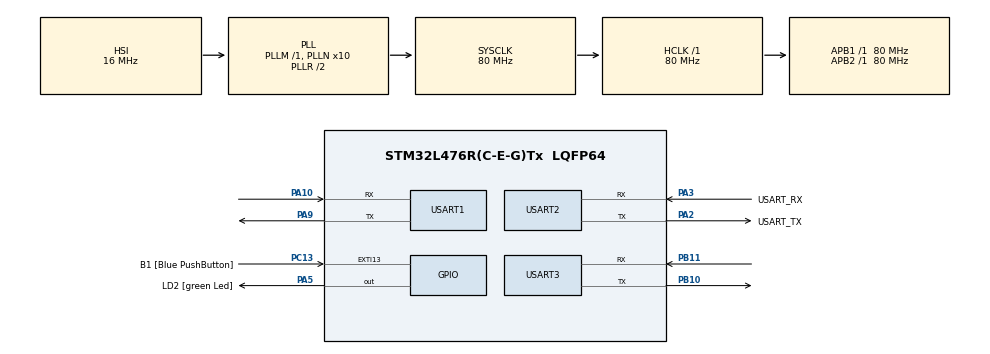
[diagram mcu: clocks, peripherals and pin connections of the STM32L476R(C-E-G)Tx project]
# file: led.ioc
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FREERTOS.Tasks01=blink_led,24,128,StartBlink_led,Default,NULL,Dynamic,NULL,NULL;Transmission2,25,128,StartTransm2,Default,NULL,Dynamic,NULL,NULL;PLoadStatus,8,128,PLStatus,Default,NULL,Dynamic,NULL,NULL;OBCAskU,8,128,StartOBCAsku,Default,NULL,Dynamic,NULL,NULL;OBCAskV,8,128,StartOBCAskV,Default,NULL,Dynamic,NULL,NULL
Mcu.Family=STM32L4
Mcu.Name=STM32L476R(C-E-G)Tx
Mcu.Package=LQFP64
NVIC.PriorityGroup=NVIC_PRIORITYGROUP_4
NVIC.TIM6_DAC_IRQn=true\:15\:0\:false\:false\:true\:false\:false\:true
NVIC.TimeBase=TIM6_DAC_IRQn
NVIC.TimeBaseIP=TIM6
NVIC.USART1_IRQn=true\:5\:0\:false\:false\:true\:true\:true\:true
NVIC.USART2_IRQn=true\:5\:0\:false\:false\:true\:true\:true\:true
NVIC.USART3_IRQn=true\:5\:0\:false\:false\:true\:true\:true\:true
PA10.Mode=Asynchronous
PA10.Signal=USART1_RX
PA13\ (JTMS-SWDIO).GPIO_Label=TMS
PA13\ (JTMS-SWDIO).Mode=Serial_Wire
PA13\ (JTMS-SWDIO).Signal=SYS_JTMS-SWDIO
PA14\ (JTCK-SWCLK).GPIO_Label=TCK
PA14\ (JTCK-SWCLK).Mode=Serial_Wire
PA14\ (JTCK-SWCLK).Signal=SYS_JTCK-SWCLK
PA2.GPIO_Label=USART_TX
PA2.GPIO_Mode=GPIO_MODE_AF_PP
PA2.GPIO_PuPd=GPIO_NOPULL
PA2.GPIO_Speed=GPIO_SPEED_FREQ_VERY_HIGH
PA2.Mode=Asynchronous
PA2.Signal=USART2_TX
PA3.GPIO_Label=USART_RX
PA3.GPIO_Mode=GPIO_MODE_AF_PP
PA3.GPIO_PuPd=GPIO_NOPULL
PA3.GPIO_Speed=GPIO_SPEED_FREQ_VERY_HIGH
PA3.Mode=Asynchronous
PA3.Signal=USART2_RX
PA5.GPIO_Label=LD2 [green Led]
PA5.GPIO_ModeDefaultOutputPP=GPIO_MODE_OUTPUT_PP
PA5.GPIO_PuPd=GPIO_NOPULL
PA5.GPIO_Speed=GPIO_SPEED_FREQ_LOW
PA5.Signal=GPIO_Output
PA9.Mode=Asynchronous
PA9.Signal=USART1_TX
PB10.Mode=Asynchronous
PB10.Signal=USART3_TX
PB11.Mode=Asynchronous
PB11.Signal=USART3_RX
PB3\ (JTDO-TRACESWO).GPIO_Label=SWO
PB3\ (JTDO-TRACESWO).Signal=SYS_JTDO-SWO
PC13.GPIO_Label=B1 [Blue PushButton]
PC13.GPIO_ModeDefaultEXTI=GPIO_MODE_IT_FALLING
PC13.GPIO_PuPd=GPIO_NOPULL
PC13.Signal=GPXTI13
PC14-OSC32_IN\ (PC14).Mode=LSE-External-Oscillator
PC14-OSC32_IN\ (PC14).Signal=RCC_OSC32_IN
PC15-OSC32_OUT\ (PC15).Mode=LSE-External-Oscillator
PC15-OSC32_OUT\ (PC15).Signal=RCC_OSC32_OUT
PH0-OSC_IN\ (PH0).Signal=RCC_OSC_IN
PH1-OSC_OUT\ (PH1).Signal=RCC_OSC_OUT
ProjectManager.HeapSize=0x200
ProjectManager.StackSize=0x400
ProjectManager.TargetToolchain=STM32CubeIDE
RCC.ADCFreq_Value=64000000
RCC.AHBFreq_Value=80000000
RCC.APB1Freq_Value=80000000
RCC.APB1TimFreq_Value=80000000
RCC.APB2Freq_Value=80000000
RCC.APB2TimFreq_Value=80000000
RCC.CortexFreq_Value=80000000
RCC.HCLKFreq_Value=80000000
RCC.HSE_VALUE=8000000
RCC.HSI_VALUE=16000000
RCC.MSI_VALUE=4000000
RCC.PLLN=10
RCC.PLLSourceVirtual=RCC_PLLSOURCE_HSI
RCC.PREFETCH_ENABLE=1
RCC.SYSCLKFreq_VALUE=80000000
RCC.SYSCLKSource=RCC_SYSCLKSOURCE_PLLCLK
RCC.USBFreq_Value=64000000
RCC.VCOOutputFreq_Value=160000000
USART1.VirtualMode-Asynchronous=VM_ASYNC
USART2.VirtualMode-Asynchronous=VM_ASYNC
USART3.VirtualMode-Asynchronous=VM_ASYNC
VP_FREERTOS_VS_CMSIS_V2.Mode=CMSIS_V2
VP_SYS_VS_tim6.Mode=TIM6
board=NUCLEO-L476RG

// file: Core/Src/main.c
/* USER CODE BEGIN Header */
/**
  ******************************************************************************
  * @file           : main.c
  * @brief          : Main program body
  ******************************************************************************
  * @attention
  *
  * <h2><center>&copy; Copyright (c) 2021 STMicroelectronics.
  * All rights reserved.</center></h2>
  *
  * This software component is licensed by ST under BSD 3-Clause license,
  * the "License"; You may not use this file except in compliance with the
  * License. You may obtain a copy of the License at:
  *                        opensource.org/licenses/BSD-3-Clause
  *
  ******************************************************************************
  */
/* USER CODE END Header */
#include "main.h"
#include "cmsis_os.h"

/* USER CODE BEGIN Includes */
#include <string.h>
/* USER CODE END Includes */

UART_HandleTypeDef huart1;
UART_HandleTypeDef huart2;
UART_HandleTypeDef huart3;

/* Definitions for blink_led */
osThreadId_t blink_ledHandle;
const osThreadAttr_t blink_led_attributes = {
  .name = "blink_led",
  .stack_size = 128 * 4,
  .priority = (osPriority_t) osPriorityNormal,
};
/* Definitions for Transmission2 */
osThreadId_t Transmission2Handle;
const osThreadAttr_t Transmission2_attributes = {
  .name = "Transmission2",
  .stack_size = 128 * 4,
  .priority = (osPriority_t) osPriorityNormal1,
};
/* Definitions for PLoadStatus */
osThreadId_t PLoadStatusHandle;
const osThreadAttr_t PLoadStatus_attributes = {
  .name = "PLoadStatus",
  .stack_size = 128 * 4,
  .priority = (osPriority_t) osPriorityLow,
};
/* Definitions for OBCAskU */
osThreadId_t OBCAskUHandle;
const osThreadAttr_t OBCAskU_attributes = {
  .name = "OBCAskU",
  .stack_size = 128 * 4,
  .priority = (osPriority_t) osPriorityLow,
};
/* Definitions for OBCAskV */
osThreadId_t OBCAskVHandle;
const osThreadAttr_t OBCAskV_attributes = {
  .name = "OBCAskV",
  .stack_size = 128 * 4,
  .priority = (osPriority_t) osPriorityLow,
};

void SystemClock_Config(void);
static void MX_GPIO_Init(void);
static void MX_USART2_UART_Init(void);
static void MX_USART1_UART_Init(void);
static void MX_USART3_UART_Init(void);
void StartBlink_led(void *argument);
void StartTransm2(void *argument);
void PLStatus(void *argument);
void StartOBCAsku(void *argument);
void StartOBCAskV(void *argument);

/* USER CODE BEGIN 0 */
char Rx1_data[10];
char Rx2_data[10];
char Rx3_data[10];
//http://www.pomad.fr/node/19
void HAL_UART_RxCpltCallback(UART_HandleTypeDef *huart){ //https://os.mbed.com/platforms/ST-Nucleo-L476RG/
	if(huart==&huart2){
		if(Rx2_data=='1'){
			HAL_UART_Transmit(huart,"OK\n",3,HAL_MAX_DELAY);
		}
		HAL_UART_Transmit(huart,Rx2_data,1,HAL_MAX_DELAY);
		HAL_UART_Receive_IT(huart, Rx2_data, 1);
	}
	else if(huart==&huart3){ //Virtual PLoad
		HAL_UART_Transmit(&huart2,"CU a recu ",10,HAL_MAX_DELAY);
		HAL_UART_Transmit(&huart2,Rx3_data,1,HAL_MAX_DELAY);
		HAL_UART_Transmit(&huart2,"\n",1,HAL_MAX_DELAY);
		HAL_UART_Transmit(&huart2,"[PLD->OBC]CU transmet D\n",24,HAL_MAX_DELAY);
		HAL_UART_Transmit(huart,"D",1,HAL_MAX_DELAY);
		HAL_UART_Receive_IT(huart, Rx3_data, 1);
	}
	else if(huart==&huart1){
		HAL_UART_Transmit(&huart2,"OBC a recu ",11,HAL_MAX_DELAY);
		HAL_UART_Transmit(&huart2,Rx1_data,1,HAL_MAX_DELAY);
		HAL_UART_Transmit(&huart2,"\n",1,HAL_MAX_DELAY);
		//HAL_UART_Transmit(&huart2,Rx1_data,1,HAL_MAX_DELAY);
		HAL_UART_Receive_IT(huart, Rx1_data,1);
	}
	else{
		HAL_UART_Transmit(&huart2,"Erreur UART RX\n",15,HAL_MAX_DELAY);
	}
}

/* USER CODE END 0 */

int main(void)
{

  /* MCU Configuration--------------------------------------------------------*/

  /* Reset of all peripherals, Initializes the Flash interface and the Systick. */
  HAL_Init();

  /* Configure the system clock */
  SystemClock_Config();

  /* Initialize all configured peripherals */
  MX_GPIO_Init();
  MX_USART2_UART_Init();
  MX_USART1_UART_Init();
  MX_USART3_UART_Init();
  /* USER CODE BEGIN 2 */
  /* Changer les buffers */
  HAL_UART_Receive_IT(&huart3, Rx3_data, 1);
  HAL_UART_Receive_IT(&huart1, Rx1_data, 1);
  HAL_UART_Receive_IT(&huart2, Rx2_data, 1);
  //HAL_UART_Transmit_IT(&huart2,Rx_data,4);
  /* USER CODE END 2 */

  /* Init scheduler */
  osKernelInitialize();

  /* Create the thread(s) */
  /* creation of blink_led */
  blink_ledHandle = osThreadNew(StartBlink_led, NULL, &blink_led_attributes);

  /* creation of Transmission2 */
  Transmission2Handle = osThreadNew(StartTransm2, NULL, &Transmission2_attributes);

  /* creation of PLoadStatus */
  PLoadStatusHandle = osThreadNew(PLStatus, NULL, &PLoadStatus_attributes);

  /* creation of OBCAskU */
  OBCAskUHandle = osThreadNew(StartOBCAsku, NULL, &OBCAskU_attributes);

  /* creation of OBCAskV */
  OBCAskVHandle = osThreadNew(StartOBCAskV, NULL, &OBCAskV_attributes);

  /* Start scheduler */
  osKernelStart();

  /* We should never get here as control is now taken by the scheduler */
  /* Infinite loop */
  while (1)
  {

  }
}

void SystemClock_Config(void)
{
  RCC_OscInitTypeDef RCC_OscInitStruct = {0};
  RCC_ClkInitTypeDef RCC_ClkInitStruct = {0};

  /** Configure the main internal regulator output voltage
  */
  if (HAL_PWREx_ControlVoltageScaling(PWR_REGULATOR_VOLTAGE_SCALE1) != HAL_OK)
  {
    Error_Handler();
  }
  /** Initializes the RCC Oscillators according to the specified parameters
  * in the RCC_OscInitTypeDef structure.
  */
  RCC_OscInitStruct.OscillatorType = RCC_OSCILLATORTYPE_HSI;
  RCC_OscInitStruct.HSIState = RCC_HSI_ON;
  RCC_OscInitStruct.HSICalibrationValue = RCC_HSICALIBRATION_DEFAULT;
  RCC_OscInitStruct.PLL.PLLState = RCC_PLL_ON;
  RCC_OscInitStruct.PLL.PLLSource = RCC_PLLSOURCE_HSI;
  RCC_OscInitStruct.PLL.PLLM = 1;
  RCC_OscInitStruct.PLL.PLLN = 10;
  RCC_OscInitStruct.PLL.PLLP = RCC_PLLP_DIV7;
  RCC_OscInitStruct.PLL.PLLQ = RCC_PLLQ_DIV2;
  RCC_OscInitStruct.PLL.PLLR = RCC_PLLR_DIV2;
  if (HAL_RCC_OscConfig(&RCC_OscInitStruct) != HAL_OK)
  {
    Error_Handler();
  }
  /** Initializes the CPU, AHB and APB buses clocks
  */
  RCC_ClkInitStruct.ClockType = RCC_CLOCKTYPE_HCLK|RCC_CLOCKTYPE_SYSCLK
                              |RCC_CLOCKTYPE_PCLK1|RCC_CLOCKTYPE_PCLK2;
  RCC_ClkInitStruct.SYSCLKSource = RCC_SYSCLKSOURCE_PLLCLK;
  RCC_ClkInitStruct.AHBCLKDivider = RCC_SYSCLK_DIV1;
  RCC_ClkInitStruct.APB1CLKDivider = RCC_HCLK_DIV1;
  RCC_ClkInitStruct.APB2CLKDivider = RCC_HCLK_DIV1;

  if (HAL_RCC_ClockConfig(&RCC_ClkInitStruct, FLASH_LATENCY_4) != HAL_OK)
  {
    Error_Handler();
  }
}

static void MX_USART1_UART_Init(void)
{

  huart1.Instance = USART1;
  huart1.Init.BaudRate = 115200;
  huart1.Init.WordLength = UART_WORDLENGTH_8B;
  huart1.Init.StopBits = UART_STOPBITS_1;
  huart1.Init.Parity = UART_PARITY_NONE;
  huart1.Init.Mode = UART_MODE_TX_RX;
  huart1.Init.HwFlowCtl = UART_HWCONTROL_NONE;
  huart1.Init.OverSampling = UART_OVERSAMPLING_16;
  huart1.Init.OneBitSampling = UART_ONE_BIT_SAMPLE_DISABLE;
  huart1.AdvancedInit.AdvFeatureInit = UART_ADVFEATURE_NO_INIT;
  if (HAL_UART_Init(&huart1) != HAL_OK)
  {
    Error_Handler();
  }

}

static void MX_USART2_UART_Init(void)
{

  huart2.Instance = USART2;
  huart2.Init.BaudRate = 115200;
  huart2.Init.WordLength = UART_WORDLENGTH_8B;
  huart2.Init.StopBits = UART_STOPBITS_1;
  huart2.Init.Parity = UART_PARITY_NONE;
  huart2.Init.Mode = UART_MODE_TX_RX;
  huart2.Init.HwFlowCtl = UART_HWCONTROL_NONE;
  huart2.Init.OverSampling = UART_OVERSAMPLING_16;
  huart2.Init.OneBitSampling = UART_ONE_BIT_SAMPLE_DISABLE;
  huart2.AdvancedInit.AdvFeatureInit = UART_ADVFEATURE_NO_INIT;
  if (HAL_UART_Init(&huart2) != HAL_OK)
  {
    Error_Handler();
  }

}

static void MX_USART3_UART_Init(void)
{

  huart3.Instance = USART3;
  huart3.Init.BaudRate = 115200;
  huart3.Init.WordLength = UART_WORDLENGTH_8B;
  huart3.Init.StopBits = UART_STOPBITS_1;
  huart3.Init.Parity = UART_PARITY_NONE;
  huart3.Init.Mode = UART_MODE_TX_RX;
  huart3.Init.HwFlowCtl = UART_HWCONTROL_NONE;
  huart3.Init.OverSampling = UART_OVERSAMPLING_16;
  huart3.Init.OneBitSampling = UART_ONE_BIT_SAMPLE_DISABLE;
  huart3.AdvancedInit.AdvFeatureInit = UART_ADVFEATURE_NO_INIT;
  if (HAL_UART_Init(&huart3) != HAL_OK)
  {
    Error_Handler();
  }

}

static void MX_GPIO_Init(void)
{
  GPIO_InitTypeDef GPIO_InitStruct = {0};

  /* GPIO Ports Clock Enable */
  __HAL_RCC_GPIOC_CLK_ENABLE();
  __HAL_RCC_GPIOH_CLK_ENABLE();
  __HAL_RCC_GPIOA_CLK_ENABLE();
  __HAL_RCC_GPIOB_CLK_ENABLE();

  /*Configure GPIO pin Output Level */
  HAL_GPIO_WritePin(LD2_GPIO_Port, LD2_Pin, GPIO_PIN_RESET);

  /*Configure GPIO pin : B1_Pin */
  GPIO_InitStruct.Pin = B1_Pin;
  GPIO_InitStruct.Mode = GPIO_MODE_IT_FALLING;
  GPIO_InitStruct.Pull = GPIO_NOPULL;
  HAL_GPIO_Init(B1_GPIO_Port, &GPIO_InitStruct);

  /*Configure GPIO pin : LD2_Pin */
  GPIO_InitStruct.Pin = LD2_Pin;
  GPIO_InitStruct.Mode = GPIO_MODE_OUTPUT_PP;
  GPIO_InitStruct.Pull = GPIO_NOPULL;
  GPIO_InitStruct.Speed = GPIO_SPEED_FREQ_LOW;
  HAL_GPIO_Init(LD2_GPIO_Port, &GPIO_InitStruct);

}

void StartBlink_led(void *argument)
{
  /* USER CODE BEGIN 5 */
  /* Infinite loop */
  for(;;)
  {
	HAL_GPIO_TogglePin(GPIOA,GPIO_PIN_5);

    osDelay(1000); //Every 1000 ms
  }
  osThreadTerminate(NULL);
  /* USER CODE END 5 */
}

void StartTransm2(void *argument)
{
  /* USER CODE BEGIN StartTransm2 */
  /* Infinite loop */
  for(;;)
  {
	HAL_UART_Transmit(&huart2,"\n[OBC->PLD]OBC demande A\n",25,HAL_MAX_DELAY);
	HAL_UART_Transmit(&huart1,"A",1,HAL_MAX_DELAY);
    osDelay(1000);
  }
  /* USER CODE END StartTransm2 */
}

void PLStatus(void *argument)
{
  /* USER CODE BEGIN StartPLoad */
	int StatusCount=0;
  /* Infinite loop */
  for(;;)
  {
	HAL_UART_Transmit(&huart2,"[PLD->OBC]CU envoie Status\n",27,HAL_MAX_DELAY);
	HAL_UART_Transmit(&huart3,"S",1,HAL_MAX_DELAY);
	HAL_UART_Transmit(&huart3,StatusCount+'0',1,HAL_MAX_DELAY);
	HAL_UART_Transmit(&huart3,"\n",1,HAL_MAX_DELAY);
	StatusCount= StatusCount<9? StatusCount+1 : 0;
    osDelay(3000);
  }
  /* USER CODE END StartPLoad */
}
void StartOBCAsku(void *argument)
{
  /* USER CODE BEGIN StartOBCAsku */
  int StatusCount=0;
  /* Infinite loop */
  for(;;)
  {
	HAL_UART_Transmit(&huart2,"[OBC->PLD]OBC envoie U\n",22,HAL_MAX_DELAY);
	HAL_UART_Transmit(&huart1,"U",1,HAL_MAX_DELAY);
	HAL_UART_Transmit(&huart1,StatusCount+'0',1,HAL_MAX_DELAY);
	HAL_UART_Transmit(&huart1,"\n",1,HAL_MAX_DELAY);
	StatusCount= StatusCount<9? StatusCount+1 : 0;
    osDelay(2000);
  }
  /* USER CODE END StartOBCAsku */
}

void StartOBCAskV(void *argument)
{
  /* USER CODE BEGIN StartOBCAskV */
	  int StatusCount=0;
	  /* Infinite loop */
	  for(;;)
	  {
		HAL_UART_Transmit(&huart2,"[OBC->PLD]OBC envoie V\n",22,HAL_MAX_DELAY);
		HAL_UART_Transmit(&huart1,"V",1,HAL_MAX_DELAY);
		HAL_UART_Transmit(&huart1,StatusCount+'0',1,HAL_MAX_DELAY);
		HAL_UART_Transmit(&huart1,"\n",1,HAL_MAX_DELAY);
		StatusCount= StatusCount<9? StatusCount+1 : 0;
	    osDelay(2500);
	  }
  /* USER CODE END StartOBCAskV */
}

void HAL_TIM_PeriodElapsedCallback(TIM_HandleTypeDef *htim)
{
  if (htim->Instance == TIM6) {
    HAL_IncTick();
  }
}

void Error_Handler(void)
{
  __disable_irq();
  while (1)
  {
  }
}

/************************ (C) COPYRIGHT STMicroelectronics *****END OF FILE****/
